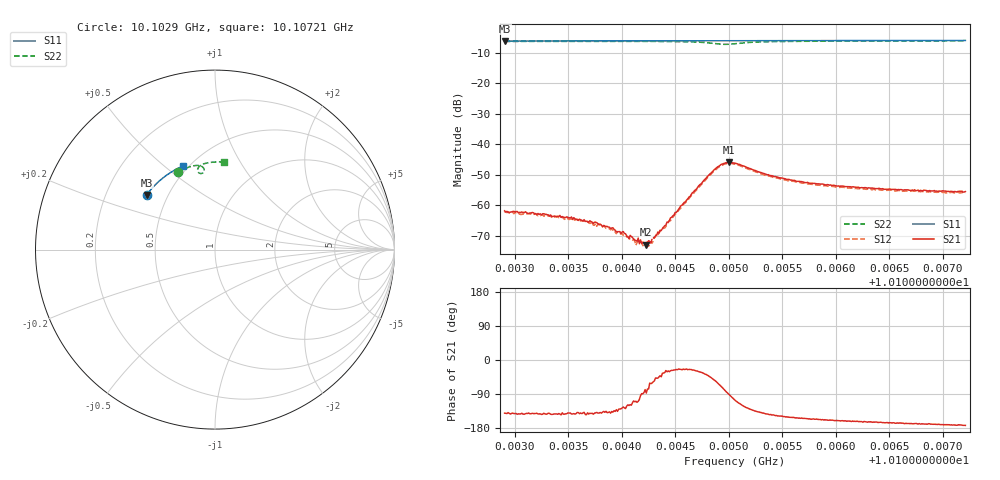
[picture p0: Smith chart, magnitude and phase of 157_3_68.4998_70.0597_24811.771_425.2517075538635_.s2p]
#  HZ  S  RI  R  50.00
! Rohde & Schwarz Vector Network Analyzer
! Rohde-Schwarz,ZNB20-2Port,1311601062101988,3.16
! Created: UTC 3/20/2024, 5:10:47 PM
! freq[Hz]  re:S11  im:S11  re:S21  im:S21  re:S12  im:S12  re:S22  im:S22
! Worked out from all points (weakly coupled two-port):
!   401 points, 10.1029 GHz to 10.10721 GHz, reference 50 ohm
!   highest |S21| = -45.89 dB at 10.105 GHz (marker M1); lowest = -72.9 dB at 10.10423 GHz (marker M2)
!   lowest |S11| = -6.2 dB at 10.1029 GHz (marker M3), VSWR 2.90, Z = 19 + j15.2 ohm
!   |S11| at or under -10 dB: nowhere
!   |S22| runs from -7.3 to -6.2 dB; largest |S21 - S12| = 0.00052
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1.0102904e10  -0.3814 0.3039  -0.000626 -0.000518  -0.000575 -0.000537  -0.2055 0.4337
1.0103281e10  -0.3673 0.3223  -0.000565 -0.00044  -0.000483 -0.000473  -0.183 0.4447
1.0103626e10  -0.3542 0.3383  -0.000448 -0.000355  -0.000397 -0.00039  -0.1613 0.4539
1.0103766e10  -0.3483 0.3447  -0.000388 -0.000344  -0.000318 -0.000324  -0.1521 0.4572
1.010382e10  -0.3462 0.3471  -0.00033 -0.000301  -0.000315 -0.000315  -0.1487 0.4584
1.0104024e10  -0.3377 0.3563  -0.000205 -0.00028  -0.000154 -0.000281  -0.1345 0.4629
1.0104046e10  -0.3368 0.3571  -0.000164 -0.000268  -0.00014 -0.000271  -0.133 0.4633
1.0104121e10  -0.3336 0.3605  -9.4e-05 -0.000255  -6.14e-05 -0.000251  -0.1276 0.4647
1.0104208e10  -0.3299 0.3641  1.75e-05 -0.000243  2.73e-05 -0.000232  -0.1208 0.4663
1.0104229e10  -0.3289 0.365  1.11e-05 -0.000226  5.78e-05 -0.000212  -0.1193 0.4668
1.0104272e10  -0.327 0.3669  0.000111 -0.000214  0.000105 -0.000233  -0.1159 0.4673
1.0104348e10  -0.3237 0.3701  0.000249 -0.000247  0.000266 -0.00023  -0.1095 0.4682
1.0104391e10  -0.3218 0.3719  0.000363 -0.000249  0.00037 -0.000213  -0.1058 0.4687
1.0104563e10  -0.3142 0.3791  0.000906 -0.00044  0.000912 -0.000324  -0.0894 0.4685
1.0104822e10  -0.3023 0.3891  0.0023 -0.00224  0.00243 -0.00193  -0.0613 0.4489
1.0104919e10  -0.2978 0.3927  0.00179 -0.00416  0.0021 -0.0038  -0.0652 0.4297
1.0105005e10  -0.2939 0.3958  -0.00016 -0.00507  0.000305 -0.00486  -0.0837 0.4247
1.0105059e10  -0.2914 0.3981  -0.00136 -0.00468  -0.000864 -0.00464  -0.0931 0.4314
1.0105414e10  -0.2743 0.4113  -0.00245 -0.00173  -0.0022 -0.00184  -0.077 0.4712
1.0105781e10  -0.2562 0.424  -0.00209 -0.000939  -0.00192 -0.00107  -0.0481 0.4818
1.0106502e10  -0.2185 0.4464  -0.00179 -0.000472  -0.00165 -0.000614  0.00236 0.4881
1.0107214e10  -0.1799 0.4651  -0.00167 -0.000215  -0.00157 -0.000382  0.0494 0.4877
